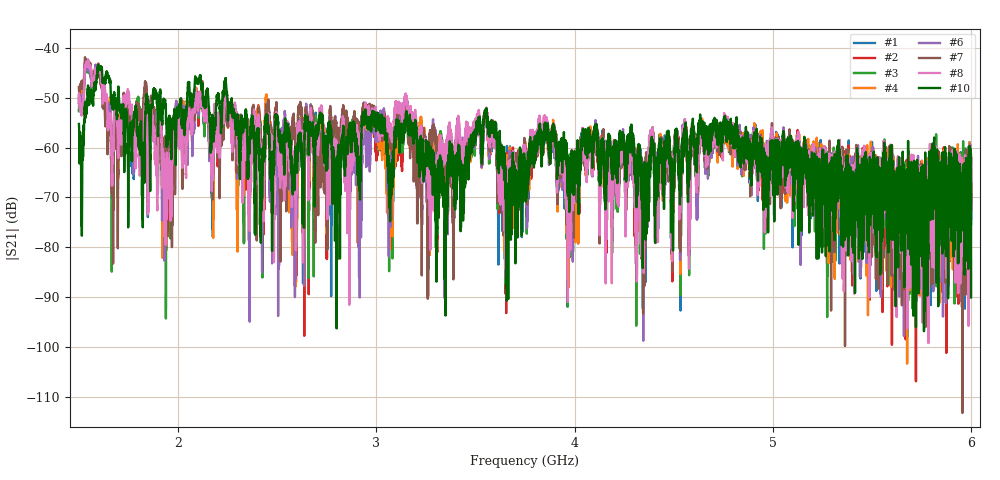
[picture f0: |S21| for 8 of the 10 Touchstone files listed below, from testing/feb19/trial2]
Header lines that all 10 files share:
!Keysight Technologies N9923A: A.08.15
!Timezone: (GMT-05:00) Eastern Time (US & Canada)
!Model: N9923A
!Serial: MY52412730
!GPS Latitude:
!GPS Longitude:
!GPS TimeStamp: 0001-01-01 00:00:00Z
!GPS Seconds Since Last Read: 0
!Correction: S11(ON Q)S21(ON Q)S12(ON Q)S22(ON Q)
!S2P File: Measurements:S11,S21,S12,S22:
# Hz S DB R 50
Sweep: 1.5 GHz to 6 GHz
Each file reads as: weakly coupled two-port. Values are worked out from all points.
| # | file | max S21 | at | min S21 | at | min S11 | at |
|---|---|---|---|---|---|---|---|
| 1 | test0.s2p | -42.74 dB | 1.545 GHz | -97.9 dB | 5.679 GHz | -39.8 dB | 4.215 GHz |
| 2 | test1.s2p | -42.86 dB | 1.546 GHz | -106.9 dB | 5.722 GHz | -40.2 dB | 3.282 GHz |
| 3 | test2.s2p | -43.03 dB | 1.545 GHz | -95.7 dB | 4.311 GHz | -40.1 dB | 3.281 GHz |
| 4 | test3.s2p | -42.54 dB | 1.545 GHz | -103.3 dB | 5.677 GHz | -40.6 dB | 3.282 GHz |
| 5 | test4.s2p | -42.08 dB | 1.545 GHz | -100.8 dB | 5.882 GHz | -40.6 dB | 3.281 GHz |
| 6 | test5.s2p | -42.56 dB | 1.545 GHz | -98.7 dB | 4.346 GHz | -40.4 dB | 3.281 GHz |
| 7 | test6.s2p | -41.89 dB | 1.531 GHz | -113.2 dB | 5.956 GHz | -40.8 dB | 3.281 GHz |
| 8 | test7.s2p | -42.50 dB | 1.546 GHz | -99.2 dB | 5.785 GHz | -41.4 dB | 3.28 GHz |
| 9 | test8.s2p | -41.85 dB | 1.544 GHz | -101.6 dB | 5.41 GHz | -40.0 dB | 3.282 GHz |
| 10 | test9.s2p | -43.41 dB | 1.598 GHz | -96.8 dB | 5.762 GHz | -40.8 dB | 3.28 GHz |
